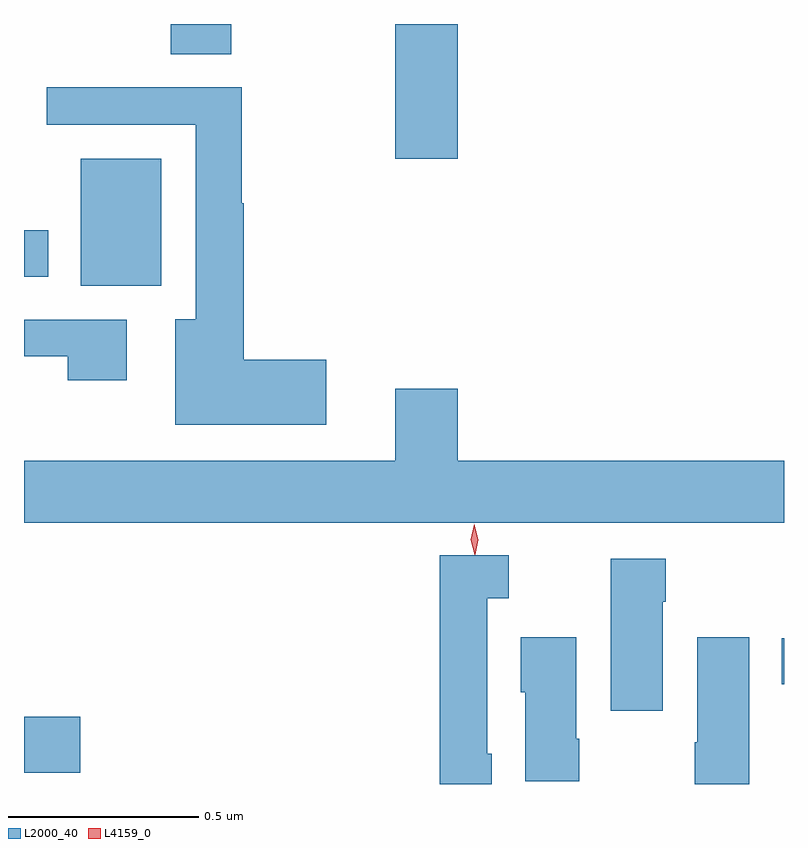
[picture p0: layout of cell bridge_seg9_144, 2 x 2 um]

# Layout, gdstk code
import gdstk
lib = gdstk.Library(unit=1e-6, precision=1e-09)
def R(c, l, rs):  # rectangles x0, y0, x1, y1
    for r in rs: c.add(gdstk.rectangle(r[:2], r[2:], *l))
def P(c, l, *ps):  # polygons
    for p in ps: c.add(gdstk.Polygon(p, *l))
L2000_40 = (2000, 40)
L4159_0 = (4159, 0)

bridge_seg9_144 = lib.new_cell('bridge_seg9_144')
R(bridge_seg9_144, L2000_40, [(583.611,1207.751,583.759,1207.898), (585.605,1207.983,585.611,1208.104), (583.76,1209.032,583.972,1209.367), (583.611,1209.056,583.675,1209.178), (584.588,1209.366,584.752,1209.721), (583.997,1209.641,584.157,1209.721)])
P(bridge_seg9_144, L2000_40, [(584.407,1208.837),(584.189,1208.837),(584.189,1209.249),(584.184,1209.249),(584.184,1209.554),(583.671,1209.554),(583.671,1209.456),(584.063,1209.456),(584.063,1208.944),(584.009,1208.944),(584.009,1208.666),(584.407,1208.666)],
  [(583.882,1208.943),(583.611,1208.943),(583.611,1208.847),(583.726,1208.847),(583.726,1208.784),(583.882,1208.784)],
  [(585.611,1208.572),(584.752,1208.572),(584.752,1208.761),(584.588,1208.761),(584.588,1208.572),(583.611,1208.572),(583.611,1208.408),(585.611,1208.408)],
  [(584.842,1207.8),(584.83,1207.8),(584.83,1208.21),(584.887,1208.21),(584.887,1208.323),(584.705,1208.323),(584.705,1207.721),(584.842,1207.721)],
  [(585.292,1208.201),(585.3,1208.201),(585.3,1208.314),(585.155,1208.314),(585.155,1207.914),(585.292,1207.914)],
  [(585.52,1208.107),(585.383,1208.107),(585.383,1207.831),(585.376,1207.831),(585.376,1207.721),(585.52,1207.721)],
  [(585.072,1207.84),(585.064,1207.84),(585.064,1208.107),(584.918,1208.107),(584.918,1207.962),(584.93,1207.962),(584.93,1207.728),(585.072,1207.728)])
P(bridge_seg9_144, L4159_0, [(584.797,1208.324),(584.797,1208.324),(584.787,1208.364),(584.796,1208.404),(584.796,1208.404),(584.796,1208.404),(584.807,1208.364),(584.798,1208.324)])

lib.write_gds('bridge_seg9_144.gds')
